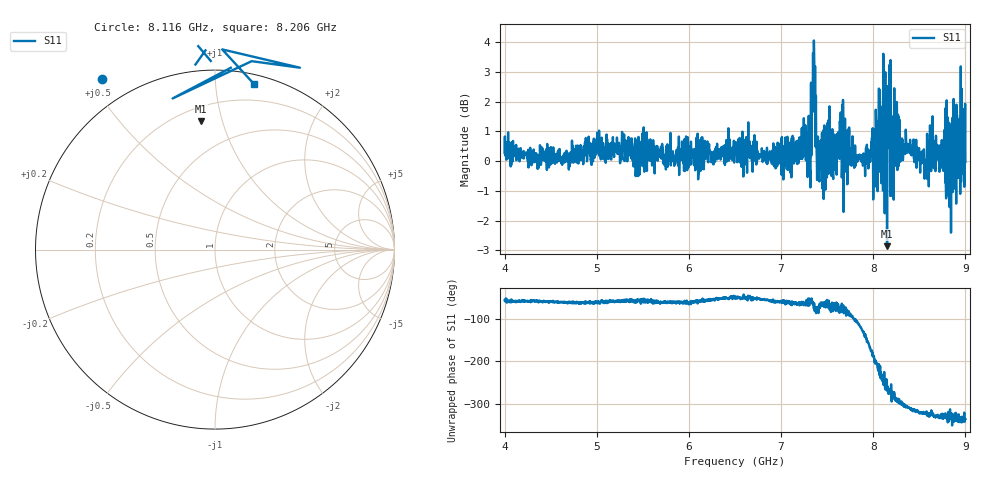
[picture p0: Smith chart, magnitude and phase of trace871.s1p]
! Created with skrf 1.8.0 (http://scikit-rf.org).
# Hz S RI R 50.0
!freq ReS11 ImS11
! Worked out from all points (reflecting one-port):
!   1601 points, 4 GHz to 9 GHz, reference 50 ohm
!   lowest |S11| = -2.9 dB at 8.15 GHz (marker M1), VSWR 6.13, Z = 14.4 + j42.7 ohm
!   phase of S11 starts at -56 deg and turns -280 deg over the sweep
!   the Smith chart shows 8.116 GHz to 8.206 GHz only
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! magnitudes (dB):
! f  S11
! 4 GHz  0.3
! 4.625 GHz  -0.1
! 5.25 GHz  0.1
! 5.875 GHz  0.0
! 6.5 GHz  0.3
! 7.125 GHz  0.8
! 7.241 GHz  0.2
! 7.294 GHz  1.0
! 7.347 GHz  3.6
! 7.359 GHz  3.6
! 7.412 GHz  -0.6
! 7.512 GHz  1.4
! 7.588 GHz  0.2
! 7.65 GHz  1.0
! 7.75 GHz  0.3
! 7.925 GHz  -0.1
! 8.022 GHz  0.5
! 8.097 GHz  0.7
! 8.15 GHz  -2.9
! 8.178 GHz  3.2
! 8.216 GHz  1.5
! 8.375 GHz  0.6
! 8.578 GHz  -0.1
! 8.662 GHz  0.4
! 8.8 GHz  0.5
! 8.844 GHz  -2.4
! 8.972 GHz  0.6
! 9 GHz  0.0
